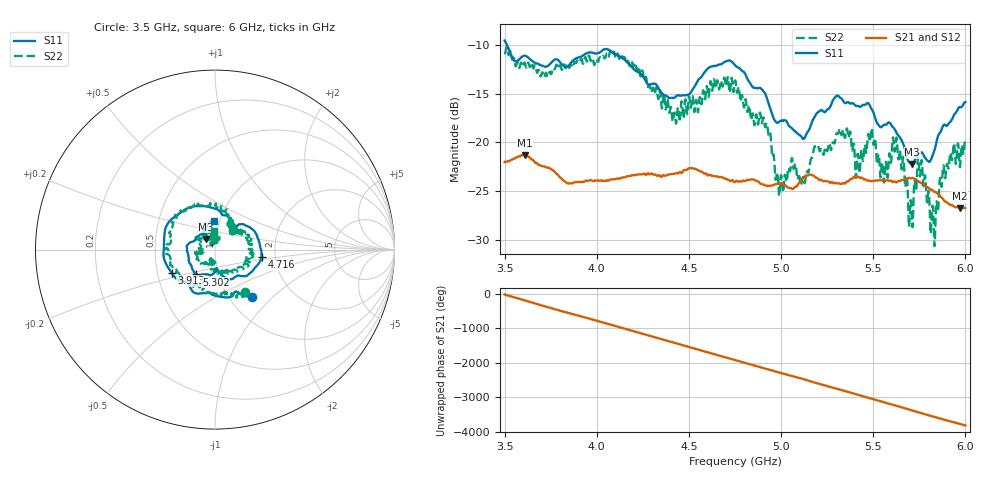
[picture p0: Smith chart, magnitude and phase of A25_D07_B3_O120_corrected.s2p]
! Created with skrf 1.9.0 (http://scikit-rf.org).
# Hz S RI R 50.0
!freq ReS11 ImS11 ReS21 ImS21 ReS12 ImS12 ReS22 ImS22
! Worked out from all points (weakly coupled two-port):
!   1601 points, 3.5 GHz to 6 GHz, reference 50 ohm
!   highest |S21| = -21.29 dB at 3.609 GHz (marker M1); lowest = -26.7 dB at 5.97 GHz (marker M2)
!   lowest |S11| = -22.3 dB at 5.711 GHz (marker M3), VSWR 1.17, Z = 45 + j5.41 ohm
!   |S11| at or under -10 dB: 3.512 GHz to end of sweep
!   |S22| runs from -30.6 to -10.2 dB; largest |S21 - S12| = 0.001
!   S11 on the Smith chart (normalised r, x): 3.5 GHz: 1.26, -0.75; 3.913 GHz: 0.59, -0.17; 4.716 GHz: 1.69, -0.16; 5.302 GHz: 0.78, -0.22; 6 GHz: 0.94, +0.31
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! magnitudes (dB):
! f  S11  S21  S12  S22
! 3.5 GHz  -9.6  -22.0  -22.0  -10.8
! 3.609 GHz  -11.1  -21.3  -21.3  -11.8
! 3.913 GHz  -11.2  -24.1  -24.0  -11.5
! 3.917 GHz  -11.2  -24.1  -24.1  -11.4
! 4.141 GHz  -11.4  -23.6  -23.6  -11.4
! 4.334 GHz  -14.4  -23.4  -23.3  -15.6
! 4.422 GHz  -15.4  -23.2  -23.2  -17.0
! 4.716 GHz  -11.6  -23.9  -23.9  -13.9
! 4.75 GHz  -12.1  -24.1  -24.0  -13.7
! 4.914 GHz  -15.0  -24.4  -24.4  -18.4
! 4.998 GHz  -17.8  -24.2  -24.2  -23.5
! 5.167 GHz  -17.9  -23.4  -23.3  -21.6
! 5.302 GHz  -15.2  -24.2  -24.1  -19.1
! 5.484 GHz  -16.3  -24.0  -23.9  -19.5
! 5.584 GHz  -18.0  -23.9  -23.9  -21.7
! 5.619 GHz  -18.7  -24.0  -24.0  -20.7
! 5.711 GHz  -22.3  -23.7  -23.6  -28.3
! 5.753 GHz  -21.1  -24.1  -24.1  -23.5
! 5.823 GHz  -21.3  -24.9  -24.9  -26.5
! 5.872 GHz  -18.6  -25.7  -25.6  -24.4
! 5.97 GHz  -16.4  -26.7  -26.7  -22.5
! 6 GHz  -15.9  -26.7  -26.7  -19.5
